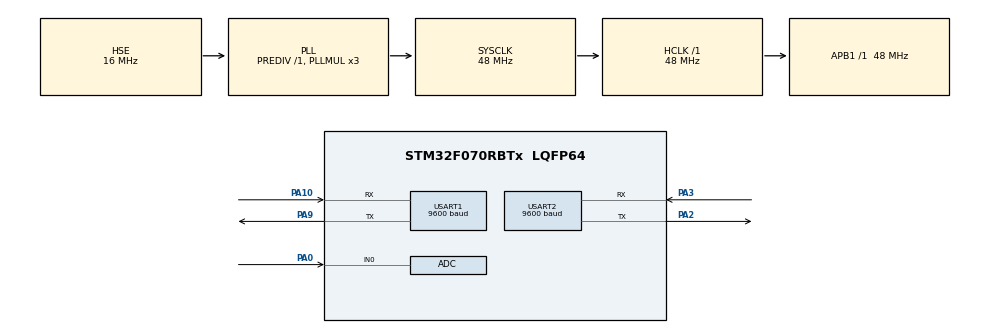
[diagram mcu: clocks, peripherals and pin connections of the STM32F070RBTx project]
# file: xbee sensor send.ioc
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ADC.SamplingTime=ADC_SAMPLETIME_239CYCLES_5
Mcu.Family=STM32F0
Mcu.Name=STM32F070RBTx
Mcu.Package=LQFP64
NVIC.ADC1_IRQn=true\:0\:0\:false\:false\:true
NVIC.USART1_IRQn=true\:0\:0\:false\:false\:true
NVIC.USART2_IRQn=true\:0\:0\:false\:false\:true
PA0.Mode=IN0
PA0.Signal=ADC_IN0
PA10.Mode=Asynchronous
PA10.Signal=USART1_RX
PA2.Mode=Asynchronous
PA2.Signal=USART2_TX
PA3.Mode=Asynchronous
PA3.Signal=USART2_RX
PA9.Mode=Asynchronous
PA9.Signal=USART1_TX
PF0-OSC_IN.Mode=HSE-External-Oscillator
PF0-OSC_IN.Signal=RCC_OSC_IN
PF1-OSC_OUT.Mode=HSE-External-Oscillator
PF1-OSC_OUT.Signal=RCC_OSC_OUT
ProjectManager.HeapSize=0x200
ProjectManager.StackSize=0x400
ProjectManager.TargetToolchain=MDK-ARM V5
RCC.AHBFreq_Value=48000000
RCC.APB1Freq_Value=48000000
RCC.APB1TimFreq_Value=48000000
RCC.HCLKFreq_Value=48000000
RCC.HSE_VALUE=16000000
RCC.PLLMUL=RCC_PLL_MUL3
RCC.PLLSourceVirtual=RCC_PLLSOURCE_HSE
RCC.SYSCLKFreq_VALUE=48000000
RCC.SYSCLKSource=RCC_SYSCLKSOURCE_PLLCLK
USART1.BaudRate=9600
USART1.VirtualMode-Asynchronous=VM_ASYNC
USART1.WordLength=WORDLENGTH_8B
USART2.BaudRate=9600
USART2.VirtualMode-Asynchronous=VM_ASYNC
USART2.WordLength=WORDLENGTH_8B
board=xbee sensor send

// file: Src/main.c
/**
  ******************************************************************************
  * File Name          : main.c
  * Description        : Main program body
  ******************************************************************************
  ** This notice applies to any and all portions of this file
  * that are not between comment pairs USER CODE BEGIN and
  * USER CODE END. Other portions of this file, whether
  * inserted by the user or by software development tools
  * are owned by their respective copyright owners.
  *
  * COPYRIGHT(c) 2017 STMicroelectronics
  *
  * Redistribution and use in source and binary forms, with or without modification,
  * are permitted provided that the following conditions are met:
  *   1. Redistributions of source code must retain the above copyright notice,
  *      this list of conditions and the following disclaimer.
  *   2. Redistributions in binary form must reproduce the above copyright notice,
  *      this list of conditions and the following disclaimer in the documentation
  *      and/or other materials provided with the distribution.
  *   3. Neither the name of STMicroelectronics nor the names of its contributors
  *      may be used to endorse or promote products derived from this software
  *      without specific prior written permission.
  *
  * THIS SOFTWARE IS PROVIDED BY THE COPYRIGHT HOLDERS AND CONTRIBUTORS "AS IS"
  * AND ANY EXPRESS OR IMPLIED WARRANTIES, INCLUDING, BUT NOT LIMITED TO, THE
  * IMPLIED WARRANTIES OF MERCHANTABILITY AND FITNESS FOR A PARTICULAR PURPOSE ARE
  * DISCLAIMED. IN NO EVENT SHALL THE COPYRIGHT HOLDER OR CONTRIBUTORS BE LIABLE
  * FOR ANY DIRECT, INDIRECT, INCIDENTAL, SPECIAL, EXEMPLARY, OR CONSEQUENTIAL
  * DAMAGES (INCLUDING, BUT NOT LIMITED TO, PROCUREMENT OF SUBSTITUTE GOODS OR
  * SERVICES; LOSS OF USE, DATA, OR PROFITS; OR BUSINESS INTERRUPTION) HOWEVER
  * CAUSED AND ON ANY THEORY OF LIABILITY, WHETHER IN CONTRACT, STRICT LIABILITY,
  * OR TORT (INCLUDING NEGLIGENCE OR OTHERWISE) ARISING IN ANY WAY OUT OF THE USE
  * OF THIS SOFTWARE, EVEN IF ADVISED OF THE POSSIBILITY OF SUCH DAMAGE.
  *
  ******************************************************************************
  */
#include "main.h"
#include "stm32f0xx_hal.h"

ADC_HandleTypeDef hadc;

UART_HandleTypeDef huart1;
UART_HandleTypeDef huart2;

/* USER CODE BEGIN PV */
/* Private variables ---------------------------------------------------------*/
unsigned char ch,buffer[50];
int flg,u,raw,len;
/* USER CODE END PV */

void SystemClock_Config(void);
static void MX_GPIO_Init(void);
static void MX_USART1_UART_Init(void);
static void MX_USART2_UART_Init(void);
static void MX_ADC_Init(void);

/* USER CODE BEGIN PFP */
/* Private function prototypes -----------------------------------------------*/

/* USER CODE END PFP */

/* USER CODE BEGIN 0 */
void HAL_UART_RxCpltCallback(UART_HandleTypeDef *huart)
{
  /* Prevent unused argument(s) compilation warning */
  UNUSED(huart);
if(huart->Instance==USART1)
{
HAL_UART_Receive_IT(&huart1,&ch,1);
HAL_UART_Transmit(&huart1,&ch,1,10);
HAL_UART_Transmit(&huart2,&ch,1,10);
}
if(huart->Instance==USART3)
{
HAL_UART_Receive_IT(&huart2,&ch,1);
HAL_UART_Transmit(&huart1,&ch,1,10);
flg=1;
}
  /* NOTE : This function should not be modified, when the callback is needed,
            the HAL_UART_RxCpltCallback can be implemented in the user file.
   */
}

void HAL_ADC_ConvCpltCallback(ADC_HandleTypeDef* hadc)
{
  /* Prevent unused argument(s) compilation warning */
  UNUSED(hadc);
raw=HAL_ADC_GetValue(hadc);
flg=1;
  /* NOTE : This function should not be modified. When the callback is needed,
            function HAL_ADC_ConvCpltCallback must be implemented in the user file.
   */
}
/* USER CODE END 0 */

int main(void)
{

  /* MCU Configuration----------------------------------------------------------*/

  /* Reset of all peripherals, Initializes the Flash interface and the Systick. */
  HAL_Init();

  /* Configure the system clock */
  SystemClock_Config();

  /* Initialize all configured peripherals */
  MX_GPIO_Init();
  MX_USART1_UART_Init();
  MX_USART2_UART_Init();
  MX_ADC_Init();

  /* Infinite loop */
  while (1)
  {

  /* USER CODE BEGIN 3 */
HAL_ADC_Start_IT(&hadc);
HAL_Delay(100);
if(flg==1)
{
sprintf(buffer,"%d",raw);
len=strlen(buffer);
//HAL_UART_Transmit(&huart2,"sensor data ",12,10);
HAL_UART_Transmit(&huart2,buffer,len,10);
HAL_UART_Transmit(&huart2,"\n",1,10);
HAL_UART_Transmit(&huart1,"sensor data ",12,10);
HAL_UART_Transmit(&huart1,buffer,len,10);
HAL_UART_Transmit(&huart1,"\r\n",1,10);
flg=0;
	}
//HAL_UART_Receive_IT(&huart1,&ch,1);
//HAL_UART_Receive_IT(&huart2,&ch,1);
/*if(flg==1)
{
if(ch=='1')
{
HAL_GPIO_WritePin(GPIOB,GPIO_PIN_4,1);
}
if(ch=='0')
{
HAL_GPIO_WritePin(GPIOB,GPIO_PIN_4,0);
}
}*/
  }
  /* USER CODE END 3 */

}

/** System Clock Configuration
*/
void SystemClock_Config(void)
{

  RCC_OscInitTypeDef RCC_OscInitStruct;
  RCC_ClkInitTypeDef RCC_ClkInitStruct;
  RCC_PeriphCLKInitTypeDef PeriphClkInit;

    /**Initializes the CPU, AHB and APB busses clocks
    */
  RCC_OscInitStruct.OscillatorType = RCC_OSCILLATORTYPE_HSI14|RCC_OSCILLATORTYPE_HSE;
  RCC_OscInitStruct.HSEState = RCC_HSE_ON;
  RCC_OscInitStruct.HSIState = RCC_HSI_ON;
  RCC_OscInitStruct.HSI14State = RCC_HSI14_ON;
  RCC_OscInitStruct.HSI14CalibrationValue = 16;
  RCC_OscInitStruct.PLL.PLLState = RCC_PLL_ON;
  RCC_OscInitStruct.PLL.PLLSource = RCC_PLLSOURCE_HSE;
  RCC_OscInitStruct.PLL.PLLMUL = RCC_PLL_MUL3;
  RCC_OscInitStruct.PLL.PREDIV = RCC_PREDIV_DIV1;
  if (HAL_RCC_OscConfig(&RCC_OscInitStruct) != HAL_OK)
  {
    _Error_Handler(__FILE__, __LINE__);
  }

    /**Initializes the CPU, AHB and APB busses clocks
    */
  RCC_ClkInitStruct.ClockType = RCC_CLOCKTYPE_HCLK|RCC_CLOCKTYPE_SYSCLK
                              |RCC_CLOCKTYPE_PCLK1;
  RCC_ClkInitStruct.SYSCLKSource = RCC_SYSCLKSOURCE_PLLCLK;
  RCC_ClkInitStruct.AHBCLKDivider = RCC_SYSCLK_DIV1;
  RCC_ClkInitStruct.APB1CLKDivider = RCC_HCLK_DIV1;

  if (HAL_RCC_ClockConfig(&RCC_ClkInitStruct, FLASH_LATENCY_1) != HAL_OK)
  {
    _Error_Handler(__FILE__, __LINE__);
  }

  PeriphClkInit.PeriphClockSelection = RCC_PERIPHCLK_USART1;
  PeriphClkInit.Usart1ClockSelection = RCC_USART1CLKSOURCE_PCLK1;
  if (HAL_RCCEx_PeriphCLKConfig(&PeriphClkInit) != HAL_OK)
  {
    _Error_Handler(__FILE__, __LINE__);
  }

    /**Configure the Systick interrupt time
    */
  HAL_SYSTICK_Config(HAL_RCC_GetHCLKFreq()/1000);

    /**Configure the Systick
    */
  HAL_SYSTICK_CLKSourceConfig(SYSTICK_CLKSOURCE_HCLK);

  /* SysTick_IRQn interrupt configuration */
  HAL_NVIC_SetPriority(SysTick_IRQn, 0, 0);
}

/* ADC init function */
static void MX_ADC_Init(void)
{

  ADC_ChannelConfTypeDef sConfig;

    /**Configure the global features of the ADC (Clock, Resolution, Data Alignment and number of conversion)
    */
  hadc.Instance = ADC1;
  hadc.Init.ClockPrescaler = ADC_CLOCK_ASYNC_DIV1;
  hadc.Init.Resolution = ADC_RESOLUTION_12B;
  hadc.Init.DataAlign = ADC_DATAALIGN_RIGHT;
  hadc.Init.ScanConvMode = ADC_SCAN_DIRECTION_FORWARD;
  hadc.Init.EOCSelection = ADC_EOC_SINGLE_CONV;
  hadc.Init.LowPowerAutoWait = DISABLE;
  hadc.Init.LowPowerAutoPowerOff = DISABLE;
  hadc.Init.ContinuousConvMode = DISABLE;
  hadc.Init.DiscontinuousConvMode = DISABLE;
  hadc.Init.ExternalTrigConv = ADC_SOFTWARE_START;
  hadc.Init.ExternalTrigConvEdge = ADC_EXTERNALTRIGCONVEDGE_NONE;
  hadc.Init.DMAContinuousRequests = DISABLE;
  hadc.Init.Overrun = ADC_OVR_DATA_PRESERVED;
  if (HAL_ADC_Init(&hadc) != HAL_OK)
  {
    _Error_Handler(__FILE__, __LINE__);
  }

    /**Configure for the selected ADC regular channel to be converted.
    */
  sConfig.Channel = ADC_CHANNEL_0;
  sConfig.Rank = ADC_RANK_CHANNEL_NUMBER;
  sConfig.SamplingTime = ADC_SAMPLETIME_239CYCLES_5;
  if (HAL_ADC_ConfigChannel(&hadc, &sConfig) != HAL_OK)
  {
    _Error_Handler(__FILE__, __LINE__);
  }

}

/* USART1 init function */
static void MX_USART1_UART_Init(void)
{

  huart1.Instance = USART1;
  huart1.Init.BaudRate = 9600;
  huart1.Init.WordLength = UART_WORDLENGTH_8B;
  huart1.Init.StopBits = UART_STOPBITS_1;
  huart1.Init.Parity = UART_PARITY_NONE;
  huart1.Init.Mode = UART_MODE_TX_RX;
  huart1.Init.HwFlowCtl = UART_HWCONTROL_NONE;
  huart1.Init.OverSampling = UART_OVERSAMPLING_16;
  huart1.Init.OneBitSampling = UART_ONE_BIT_SAMPLE_DISABLE;
  huart1.AdvancedInit.AdvFeatureInit = UART_ADVFEATURE_NO_INIT;
  if (HAL_UART_Init(&huart1) != HAL_OK)
  {
    _Error_Handler(__FILE__, __LINE__);
  }

}

/* USART2 init function */
static void MX_USART2_UART_Init(void)
{

  huart2.Instance = USART2;
  huart2.Init.BaudRate = 9600;
  huart2.Init.WordLength = UART_WORDLENGTH_8B;
  huart2.Init.StopBits = UART_STOPBITS_1;
  huart2.Init.Parity = UART_PARITY_NONE;
  huart2.Init.Mode = UART_MODE_TX_RX;
  huart2.Init.HwFlowCtl = UART_HWCONTROL_NONE;
  huart2.Init.OverSampling = UART_OVERSAMPLING_16;
  huart2.Init.OneBitSampling = UART_ONE_BIT_SAMPLE_DISABLE;
  huart2.AdvancedInit.AdvFeatureInit = UART_ADVFEATURE_NO_INIT;
  if (HAL_UART_Init(&huart2) != HAL_OK)
  {
    _Error_Handler(__FILE__, __LINE__);
  }

}

/** Configure pins as
        * Analog
        * Input
        * Output
        * EVENT_OUT
        * EXTI
*/
static void MX_GPIO_Init(void)
{

  /* GPIO Ports Clock Enable */
  __HAL_RCC_GPIOF_CLK_ENABLE();
  __HAL_RCC_GPIOA_CLK_ENABLE();

}

void _Error_Handler(char * file, int line)
{
  while(1)
  {
  }
}

/************************ (C) COPYRIGHT STMicroelectronics *****END OF FILE****/
